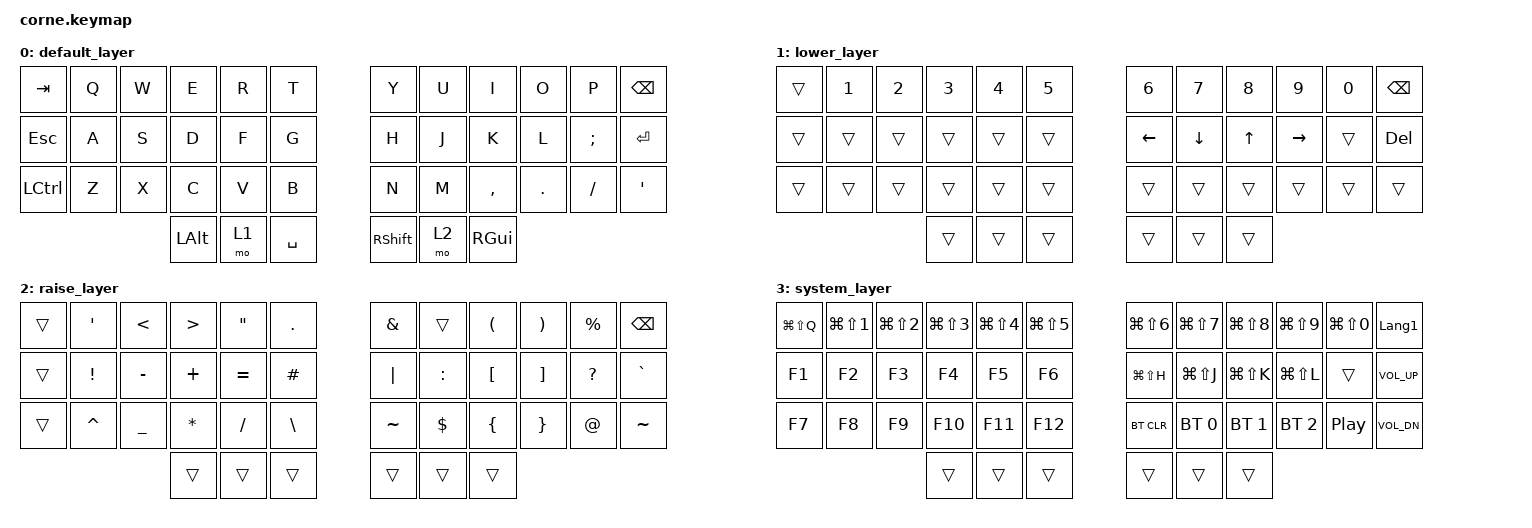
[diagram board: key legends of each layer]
/*
 * Copyright (c) 2020 The ZMK Contributors
 *
 * SPDX-License-Identifier: MIT
 */

#include <behaviors.dtsi>
#include <dt-bindings/zmk/bt.h>
#include <dt-bindings/zmk/keys.h>

/ {
    combos {
        compatible = "zmk,combos";

        to_system {
            bindings = <&mo 3>;
            key-positions = <37 40>;
        };
    };

    keymap {
        compatible = "zmk,keymap";

        default_layer {
            // -----------------------------------------------------------------------------------------
            // |  TAB |  Q  |  W  |  E  |  R  |  T  |   |  Y  |  U   |  I  |  O  |  P  | BKSP |
            // | CTRL |  A  |  S  |  D  |  F  |  G  |   |  H  |  J   |  K  |  L  |  ;  |  '   |
            // | SHFT |  Z  |  X  |  C  |  V  |  B  |   |  N  |  M   |  ,  |  .  |  /  | ESC  |
            //                    | GUI | LWR | SPC |   | ENT | RSE  | ALT |

            bindings = <
&kp TAB           &kp Q  &kp W  &kp E         &kp R  &kp T        &kp Y            &kp U  &kp I          &kp O    &kp P     &kp BSPC
&kp ESCAPE        &kp A  &kp S  &kp D         &kp F  &kp G        &kp H            &kp J  &kp K          &kp L    &kp SEMI  &kp ENTER
&kp LEFT_CONTROL  &kp Z  &kp X  &kp C         &kp V  &kp B        &kp N            &kp M  &kp COMMA      &kp DOT  &kp FSLH  &kp SQT
                                &kp LEFT_ALT  &mo 1  &kp SPACE    &kp RIGHT_SHIFT  &mo 2  &kp RIGHT_GUI
            >;
        };

        lower_layer {
            // -----------------------------------------------------------------------------------------
            // |  TAB |  1  |  2  |  3  |  4  |  5  |   |  6  |  7  |  8  |  9  |  0  | BKSP |
            // | BTCLR| BT1 | BT2 | BT3 | BT4 | BT5 |   | LFT | DWN |  UP | RGT |     |      |
            // | SHFT |     |     |     |     |     |   |     |     |     |     |     |      |
            //                    | GUI |     | SPC |   | ENT |     | ALT |

            bindings = <
&trans  &kp N1  &kp N2  &kp N3  &kp N4  &kp N5    &kp N6    &kp N7    &kp N8  &kp N9     &kp N0  &kp BSPC
&trans  &trans  &trans  &trans  &trans  &trans    &kp LEFT  &kp DOWN  &kp UP  &kp RIGHT  &trans  &kp DEL
&trans  &trans  &trans  &trans  &trans  &trans    &trans    &trans    &trans  &trans     &trans  &trans
                        &trans  &trans  &trans    &trans    &trans    &trans
            >;
        };

        raise_layer {
            // -----------------------------------------------------------------------------------------
            // |  TAB |  !  |  @  |  #  |  $  |  %  |   |  ^  |  &  |  *  |  (  |  )  | BKSP |
            // | CTRL |     |     |     |     |     |   |  -  |  =  |  [  |  ]  |  \  |  `   |
            // | SHFT |     |     |     |     |     |   |  _  |  +  |  {  |  }  | "|" |  ~   |
            //                    | GUI |     | SPC |   | ENT |     | ALT |

            bindings = <
&trans  &kp SQT    &kp LESS_THAN   &kp GREATER_THAN  &kp DOUBLE_QUOTES  &kp PERIOD       &kp AMPERSAND  &trans      &kp LEFT_PARENTHESIS  &kp RIGHT_PARENTHESIS  &kp PERCENT   &kp BSPC
&trans  &kp EXCL   &kp MINUS       &kp PLUS          &kp EQUAL          &kp HASH         &kp PIPE       &kp COLON   &kp LBKT              &kp RBKT               &kp QUESTION  &kp GRAVE
&trans  &kp CARET  &kp UNDERSCORE  &kp STAR          &kp SLASH          &kp BACKSLASH    &kp TILDE      &kp DOLLAR  &kp LBRC              &kp RBRC               &kp AT        &kp TILDE
                                   &trans            &trans             &trans           &trans         &trans      &trans
            >;
        };

        system_layer {
            bindings = <
&kp LG(LS(Q))  &kp LG(LS(NUMBER_1))  &kp LG(LS(NUMBER_2))  &kp LG(LS(NUMBER_3))  &kp LG(LS(NUMBER_4))  &kp LG(LS(N5))    &kp LG(LS(NUMBER_6))  &kp LG(LS(N7))  &kp LG(LS(N8))  &kp LG(LS(N9))  &kp LG(LS(N0))    &kp LANGUAGE_1
&kp F1         &kp F2                &kp F3                &kp F4                &kp F5                &kp F6            &kp LG(LS(H))         &kp LG(LS(J))   &kp LG(LS(K))   &kp LG(LS(L))   &trans            &kp C_VOLUME_UP
&kp F7         &kp F8                &kp F9                &kp F10               &kp F11               &kp F12           &bt BT_CLR            &bt BT_SEL 0    &bt BT_SEL 1    &bt BT_SEL 2    &kp C_PLAY_PAUSE  &kp C_VOL_DN
                                                           &trans                &trans                &trans            &trans                &trans          &trans
            >;
        };
    };
};
